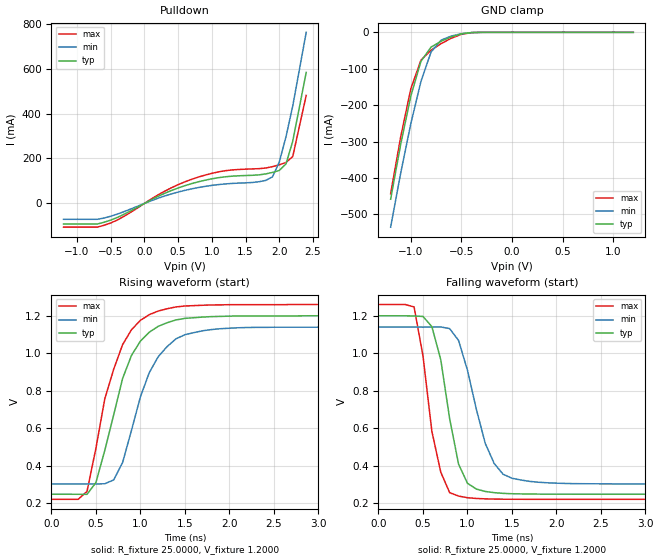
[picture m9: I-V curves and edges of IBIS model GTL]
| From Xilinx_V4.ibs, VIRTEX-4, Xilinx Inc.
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|   Model GTL
[Model]   GTL
Model_type   I/O_open_drain
Polarity   Non-Inverting
Enable   Active-Low
Vinh = 0.85V
Vinl = 0.75V
Vmeas =   0.8000V
Cref =  0.000F
Rref =  25.0000
Vref =   1.0000V
C_comp   8.0000pF   8.0000pF   8.0000pF
[Temperature Range]   25.0000   85.0000   0.000
[Voltage Range]   1.2000V   1.1400V   1.2600V
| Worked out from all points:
|   slope of the pulldown table from 0 to 0.18 V, typ, clamps not added: 6.39 ohm
|   GND clamp passes 1 mA (typ) near -0.41 V on its own axis
|   rising waveform, R_fixture 25.0000, V_fixture 1.2000: 20-80 % time 353ps typ, 359ps min, 336ps max; typ from 0.249 V to 1.2 V
|   falling waveform, R_fixture 25.0000, V_fixture 1.2000: 20-80 % time 213ps typ, 285ps min, 196ps max; typ from 1.2 V to 0.249 V
[Pulldown]
| voltage   I(typ)   I(min)   I(max)
-1.2V     -91.69mA   -70.64mA   -105.5mA
-700mV    -91.69mA   -70.64mA   -105.5mA
-500mV    -74.15mA   -56.96mA   -86.88mA
400mV     57.43mA    42.29mA    69.66mA
900mV     103.4mA    75.88mA    126.1mA
1.2V      118.6mA    86.85mA    145.6mA
1.7V      127.1mA    96.65mA    154.7mA
1.9V      137.9mA    118.6mA    163.7mA
2V        146.7mA    183.6mA    171.9mA
2.1V      175.7mA    296.6mA    182.2mA
2.2V      276.5mA    433.1mA    208.4mA
2.4V      582.9mA    761.2mA    480.6mA
[GND_clamp]
| voltage   I(typ)   I(min)   I(max)
-1.2V     -458.4mA   -535.2mA   -443.2mA
-1.1V     -307mA     -386mA     -286.5mA
-1V       -174.9mA   -250.6mA   -154.8mA
-900mV    -79.61mA   -134.7mA   -76.27mA
-800mV    -40.54mA   -53.98mA   -48.94mA
-700mV    -24.41mA   -21.32mA   -30.96mA
-600mV    -12.44mA   -10.24mA   -16.17mA
-500mV    -4.23mA    -3.859mA   -5.633mA
-400mV    -647uA     -794.1uA   -841.7uA
1.2V      121.8nA    256.6nA    119.7nA
[Ramp]
| variable   typ   min   max
dV/dt_r   3.3732u/0.2583n   3.9750u/0.4259n   0.7278u/1.6080n
dV/dt_f   0.5707/0.1931n   0.5017/0.2704n   0.6229/0.1589n
R_load = 25.0000
[Rising Waveform]
R_fixture = 25.0000
V_fixture = 1.2000
V_fixture_min = 1.1400
V_fixture_max = 1.2600
| time   V(typ)   V(min)   V(max)
0s        248.9mV    303.8mV    221.8mV
400ps     248.5mV    303.8mV    263.7mV
500ps     310.7mV    303.7mV    493.1mV
600ps     482.7mV    304.8mV    757.4mV
700ps     672mV      325.2mV    914.9mV
900ps     988.6mV    589.3mV    1.125V
1.1ns     1.113V     897mV      1.206V
1.4ns     1.178V     1.077V     1.247V
1.8ns     1.196V     1.127V     1.258V
5ns       1.2V       1.14V      1.26V
[Falling Waveform]
R_fixture = 25.0000
V_fixture = 1.2000
V_fixture_min = 1.1400
V_fixture_max = 1.2600
| time   V(typ)   V(min)   V(max)
0s        1.2V       1.14V      1.26V
400ps     1.199V     1.14V      1.247V
500ps     1.196V     1.139V     985.8mV
600ps     1.142V     1.14V      583.6mV
800ps     650.6mV    1.131V     257.3mV
900ps     409.1mV    1.069V     239.2mV
1ns       307.3mV    909.5mV    230.3mV
1.2ns     263.7mV    519.8mV    224.3mV
1.5ns     251.6mV    334.1mV    222.2mV
5ns       248.9mV    303.8mV    221.8mV
